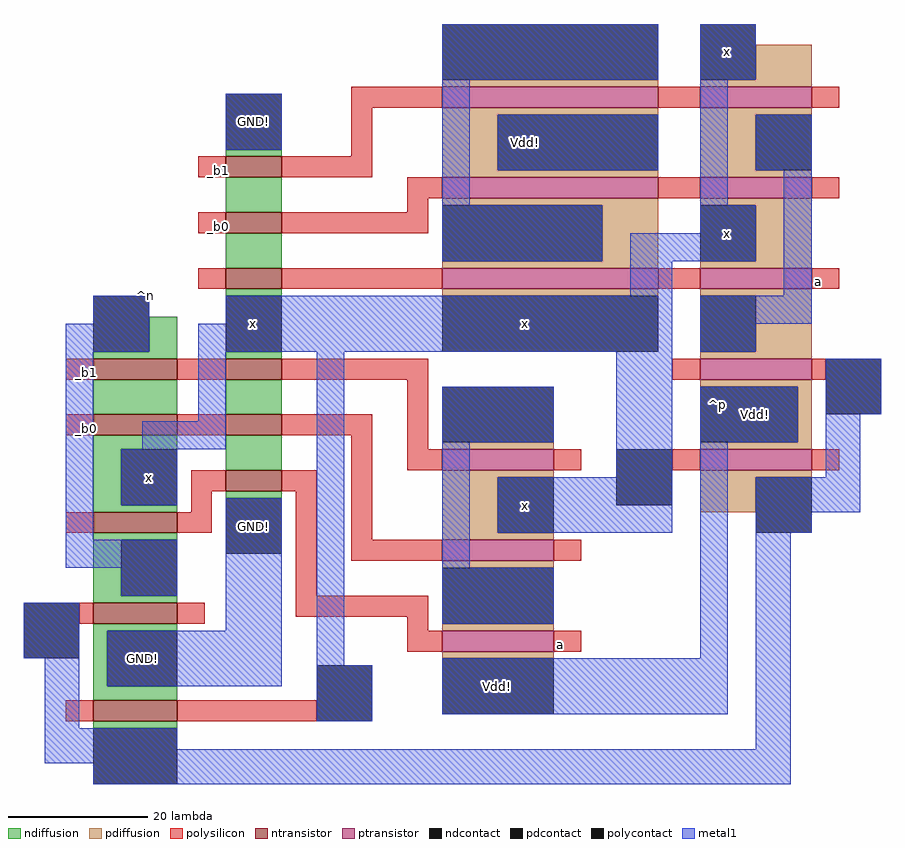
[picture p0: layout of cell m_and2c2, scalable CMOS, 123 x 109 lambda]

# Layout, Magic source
magic
tech scmos
<< ndiffusion >>
rect 26 120 34 121
rect 26 112 34 117
rect 26 104 34 109
rect 26 100 34 101
rect 15 92 19 97
rect 7 91 19 92
rect 26 91 34 92
rect 7 83 19 88
rect 26 83 34 88
rect 7 78 19 80
rect 7 70 11 78
rect 26 75 34 80
rect 7 69 19 70
rect 26 71 34 72
rect 7 65 19 66
rect 7 57 11 65
rect 7 56 19 57
rect 7 52 19 53
rect 7 44 9 52
rect 7 42 19 44
rect 7 38 19 39
<< pdiffusion >>
rect 57 130 88 131
rect 102 131 110 136
rect 94 130 110 131
rect 57 126 88 127
rect 57 118 65 126
rect 57 117 88 118
rect 94 126 110 127
rect 94 118 102 126
rect 94 117 110 118
rect 57 113 88 114
rect 80 105 88 113
rect 57 104 88 105
rect 94 113 110 114
rect 102 105 110 113
rect 94 104 110 105
rect 57 100 88 101
rect 94 100 110 101
rect 102 92 110 100
rect 94 91 110 92
rect 94 87 110 88
rect 57 78 73 79
rect 108 79 110 87
rect 94 78 110 79
rect 57 74 73 75
rect 57 66 65 74
rect 94 74 110 75
rect 94 69 102 74
rect 57 65 73 66
rect 57 61 73 62
rect 57 52 73 53
rect 57 48 73 49
<< ntransistor >>
rect 26 117 34 120
rect 26 109 34 112
rect 26 101 34 104
rect 7 88 19 91
rect 26 88 34 91
rect 7 80 19 83
rect 26 80 34 83
rect 26 72 34 75
rect 7 66 19 69
rect 7 53 19 56
rect 7 39 19 42
<< ptransistor >>
rect 57 127 88 130
rect 94 127 110 130
rect 57 114 88 117
rect 94 114 110 117
rect 57 101 88 104
rect 94 101 110 104
rect 94 88 110 91
rect 57 75 73 78
rect 94 75 110 78
rect 57 62 73 65
rect 57 49 73 52
<< polysilicon >>
rect 44 127 57 130
rect 88 127 94 130
rect 110 127 114 130
rect 44 120 47 127
rect 22 117 26 120
rect 34 117 47 120
rect 52 114 57 117
rect 88 114 94 117
rect 110 114 114 117
rect 52 112 55 114
rect 22 109 26 112
rect 34 109 55 112
rect 22 101 26 104
rect 34 101 57 104
rect 88 101 94 104
rect 110 101 114 104
rect 3 88 7 91
rect 19 88 26 91
rect 34 88 55 91
rect 90 88 94 91
rect 110 88 112 91
rect 3 80 7 83
rect 19 80 26 83
rect 34 80 47 83
rect 21 72 26 75
rect 34 72 39 75
rect 21 69 24 72
rect 3 66 7 69
rect 19 66 24 69
rect 36 57 39 72
rect 44 65 47 80
rect 52 78 55 88
rect 52 75 57 78
rect 73 75 77 78
rect 90 75 94 78
rect 110 75 114 78
rect 44 62 57 65
rect 73 62 77 65
rect 5 53 7 56
rect 19 53 23 56
rect 36 54 55 57
rect 52 52 55 54
rect 52 49 57 52
rect 73 49 77 52
rect 3 39 7 42
rect 19 39 39 42
<< ndcontact >>
rect 26 121 34 129
rect 7 92 15 100
rect 26 92 34 100
rect 11 70 19 78
rect 11 57 19 65
rect 26 63 34 71
rect 9 44 19 52
rect 7 30 19 38
<< pdcontact >>
rect 57 131 88 139
rect 94 131 102 139
rect 65 118 88 126
rect 102 118 110 126
rect 57 105 80 113
rect 94 105 102 113
rect 57 92 88 100
rect 94 92 102 100
rect 57 79 73 87
rect 94 79 108 87
rect 65 66 73 74
rect 102 66 110 74
rect 57 53 73 61
rect 57 40 73 48
<< polycontact >>
rect 112 83 120 91
rect 82 70 90 78
rect -3 48 5 56
rect 39 39 47 47
<< metal1 >>
rect 57 131 88 139
rect 94 131 102 139
rect 26 121 34 129
rect 57 113 61 131
rect 65 118 88 126
rect 94 113 98 131
rect 102 118 110 126
rect 57 105 80 113
rect 94 109 102 113
rect 84 105 102 109
rect 84 100 90 105
rect 106 100 110 118
rect 7 96 15 100
rect 26 96 90 100
rect 3 92 15 96
rect 22 92 90 96
rect 94 96 110 100
rect 94 92 102 96
rect 3 65 7 92
rect 22 82 26 92
rect 14 78 26 82
rect 11 70 19 78
rect 3 61 19 65
rect 11 57 19 61
rect -3 48 5 56
rect 26 52 34 71
rect 0 38 5 48
rect 9 44 34 52
rect 39 47 43 92
rect 57 79 73 87
rect 57 61 61 79
rect 82 74 90 92
rect 65 66 90 74
rect 94 79 108 87
rect 112 83 120 91
rect 57 53 73 61
rect 94 48 98 79
rect 112 74 117 83
rect 39 39 47 47
rect 57 40 98 48
rect 102 69 117 74
rect 102 66 110 69
rect 0 35 19 38
rect 102 35 107 66
rect 0 33 107 35
rect 7 30 107 33
<< labels >>
rlabel polysilicon 111 102 111 102 1 a
rlabel metal1 98 109 98 109 1 x
rlabel metal1 98 135 98 135 5 x
rlabel metal1 102 83 102 83 1 Vdd!
rlabel polysilicon 74 50 74 50 1 a
rlabel polysilicon 6 89 6 89 1 _b1
rlabel polysilicon 6 81 6 81 1 _b0
rlabel metal1 30 96 30 96 5 x
rlabel metal1 15 74 15 74 1 x
rlabel metal1 69 96 69 96 1 x
rlabel metal1 69 70 69 70 1 x
rlabel polysilicon 25 118 25 118 1 _b1
rlabel polysilicon 25 110 25 110 1 _b0
rlabel metal1 30 125 30 125 5 GND!
rlabel metal1 30 67 30 67 1 GND!
rlabel metal1 69 122 69 122 1 Vdd!
rlabel metal1 65 44 65 44 1 Vdd!
rlabel metal1 14 48 14 48 1 GND!
rlabel space 2 70 27 130 7 ^n
rlabel space -4 29 25 69 7 ^n
rlabel space 72 29 121 140 3 ^p
<< end >>
